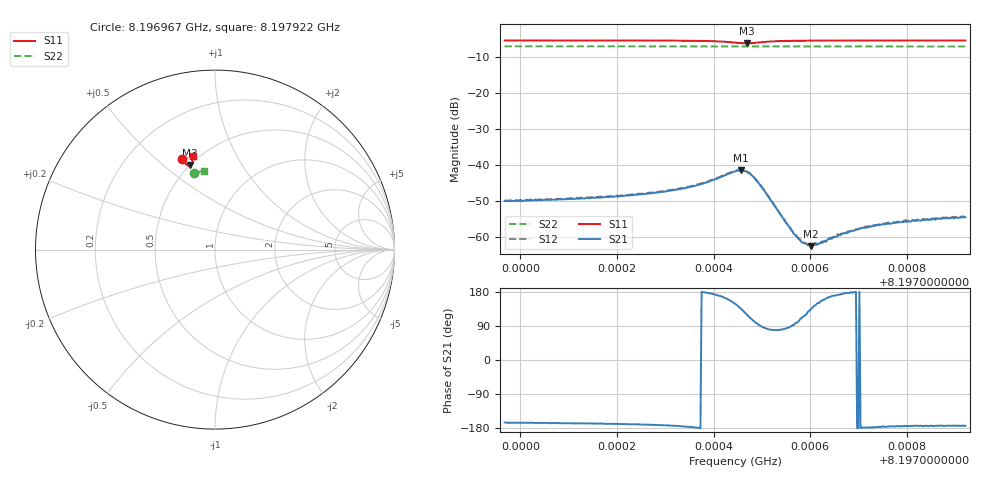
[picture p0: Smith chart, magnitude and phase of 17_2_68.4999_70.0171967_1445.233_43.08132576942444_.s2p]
#  HZ  S  RI  R  50.00
! Rohde & Schwarz Vector Network Analyzer
! Rohde-Schwarz,ZNB20-2Port,1311601062101988,3.16
! Created: UTC 3/20/2024, 4:49:16 PM
! freq[Hz]  re:S11  im:S11  re:S21  im:S21  re:S12  im:S12  re:S22  im:S22
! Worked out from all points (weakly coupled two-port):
!   401 points, 8.196967 GHz to 8.197922 GHz, reference 50 ohm
!   highest |S21| = -41.45 dB at 8.197456 GHz (marker M1); lowest = -62.5 dB at 8.197602 GHz (marker M2)
!   lowest |S11| = -6.2 dB at 8.197468 GHz (marker M3), VSWR 2.91, Z = 25.1 + j30.9 ohm
!   |S11| at or under -10 dB: nowhere
!   |S22| runs from -7.1 to -7.0 dB; largest |S21 - S12| = 0.00045
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8.1969671e9  -0.1815 0.5044  -0.00307 -0.000831  -0.00319 -0.000729  -0.1163 0.4286
8.197127e9  -0.1691 0.5082  -0.00339 -0.000757  -0.00349 -0.000652  -0.1076 0.4306
8.1972248e9  -0.1603 0.5103  -0.00375 -0.00069  -0.00383 -0.000561  -0.1023 0.4318
8.1972869e9  -0.1534 0.5112  -0.00416 -0.000601  -0.00428 -0.000439  -0.0987 0.4324
8.1973633e9  -0.1418 0.5104  -0.00521 -0.000152  -0.00531 8.13e-05  -0.0942 0.4331
8.1973895e9  -0.136 0.5082  -0.00585 0.000335  -0.00598 0.000627  -0.0927 0.4332
8.1974444e9  -0.1244 0.4853  -0.007 0.00429  -0.00689 0.00468  -0.0897 0.433
8.1974563e9  -0.129 0.4755  -0.00605 0.00592  -0.00586 0.00629  -0.0891 0.433
8.1974683e9  -0.1395 0.4686  -0.00416 0.00695  -0.00389 0.00726  -0.0888 0.433
8.1974802e9  -0.1523 0.4691  -0.00198 0.00685  -0.00168 0.00702  -0.0885 0.4333
8.1974945e9  -0.1625 0.4771  -0.000202 0.00552  4.95e-05 0.0056  -0.0879 0.4335
8.1975685e9  -0.1591 0.5058  -0.000121 0.00108  -8.95e-05 0.00108  -0.0839 0.4351
8.1975852e9  -0.1566 0.508  -0.000339 0.000771  -0.000318 0.000798  -0.0828 0.4351
8.1975971e9  -0.1548 0.5093  -0.000482 0.000609  -0.000497 0.00061  -0.0821 0.4354
8.1976019e9  -0.1544 0.5098  -0.000527 0.000539  -0.000527 0.000593  -0.0819 0.4354
8.1976043e9  -0.1539 0.5101  -0.000595 0.000546  -0.000568 0.000538  -0.0816 0.4354
8.197621e9  -0.152 0.5113  -0.000748 0.000354  -0.000729 0.000403  -0.0809 0.4356
8.1976568e9  -0.1477 0.5135  -0.00103 0.000146  -0.00108 0.000196  -0.0788 0.4358
8.1977045e9  -0.1427 0.5155  -0.00133 -9.88e-06  -0.00133 3.82e-05  -0.0761 0.4363
8.1977642e9  -0.1374 0.5172  -0.00153 -0.00013  -0.0016 -7e-05  -0.0726 0.4367
8.1978382e9  -0.1312 0.519  -0.00172 -0.000189  -0.00177 -0.000133  -0.0686 0.4373
8.1979217e9  -0.1245 0.5208  -0.00188 -0.000201  -0.00192 -0.00015  -0.0637 0.4379
